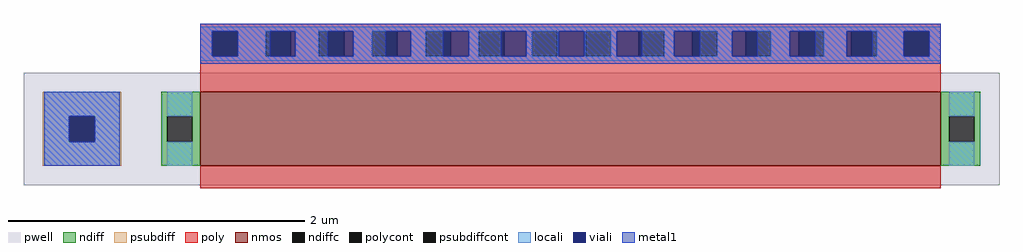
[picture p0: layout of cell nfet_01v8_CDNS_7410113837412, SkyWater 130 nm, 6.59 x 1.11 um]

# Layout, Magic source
magic
tech sky130A
magscale 1 2
<< pwell >>
rect -239 -26 1079 126
<< nmos >>
rect 0 0 1000 100
<< ndiff >>
rect -53 67 0 100
rect -53 33 -45 67
rect -11 33 0 67
rect -53 0 0 33
rect 1000 67 1053 100
rect 1000 33 1011 67
rect 1045 33 1053 67
rect 1000 0 1053 33
<< ndiffc >>
rect -45 33 -11 67
rect 1011 33 1045 67
<< psubdiff >>
rect -213 67 -107 100
rect -213 33 -177 67
rect -143 33 -107 67
rect -213 0 -107 33
<< psubdiffcont >>
rect -177 33 -143 67
<< poly >>
rect 0 182 1000 192
rect 0 148 16 182
rect 50 148 88 182
rect 122 148 160 182
rect 194 148 232 182
rect 266 148 304 182
rect 338 148 376 182
rect 410 148 448 182
rect 482 148 520 182
rect 554 148 592 182
rect 626 148 664 182
rect 698 148 736 182
rect 770 148 808 182
rect 842 148 879 182
rect 913 148 950 182
rect 984 148 1000 182
rect 0 100 1000 148
rect 0 -30 1000 0
<< polycont >>
rect 16 148 50 182
rect 88 148 122 182
rect 160 148 194 182
rect 232 148 266 182
rect 304 148 338 182
rect 376 148 410 182
rect 448 148 482 182
rect 520 148 554 182
rect 592 148 626 182
rect 664 148 698 182
rect 736 148 770 182
rect 808 148 842 182
rect 879 148 913 182
rect 950 148 984 182
<< locali >>
rect 0 182 1000 188
rect 0 148 16 182
rect 50 148 88 182
rect 128 148 160 182
rect 206 148 232 182
rect 284 148 304 182
rect 362 148 376 182
rect 440 148 448 182
rect 482 148 484 182
rect 518 148 520 182
rect 554 148 562 182
rect 626 148 640 182
rect 698 148 718 182
rect 770 148 796 182
rect 842 148 873 182
rect 913 148 950 182
rect 984 148 1000 182
rect 0 142 1000 148
rect -211 67 -109 100
rect -211 33 -177 67
rect -143 33 -109 67
rect -211 0 -109 33
rect -45 67 -11 100
rect -45 0 -11 33
rect 1011 67 1045 100
rect 1011 0 1045 33
<< viali >>
rect 16 148 50 182
rect 94 148 122 182
rect 122 148 128 182
rect 172 148 194 182
rect 194 148 206 182
rect 250 148 266 182
rect 266 148 284 182
rect 328 148 338 182
rect 338 148 362 182
rect 406 148 410 182
rect 410 148 440 182
rect 484 148 518 182
rect 562 148 592 182
rect 592 148 596 182
rect 640 148 664 182
rect 664 148 674 182
rect 718 148 736 182
rect 736 148 752 182
rect 796 148 808 182
rect 808 148 830 182
rect 873 148 879 182
rect 879 148 907 182
rect 950 148 984 182
rect -177 33 -143 67
<< metal1 >>
rect 0 182 1000 192
rect 0 148 16 182
rect 50 148 94 182
rect 128 148 172 182
rect 206 148 250 182
rect 284 148 328 182
rect 362 148 406 182
rect 440 148 484 182
rect 518 148 562 182
rect 596 148 640 182
rect 674 148 718 182
rect 752 148 796 182
rect 830 148 873 182
rect 907 148 950 182
rect 984 148 1000 182
rect 0 138 1000 148
rect -211 67 -109 100
rect -211 33 -177 67
rect -143 33 -109 67
rect -211 0 -109 33
<< end >>
